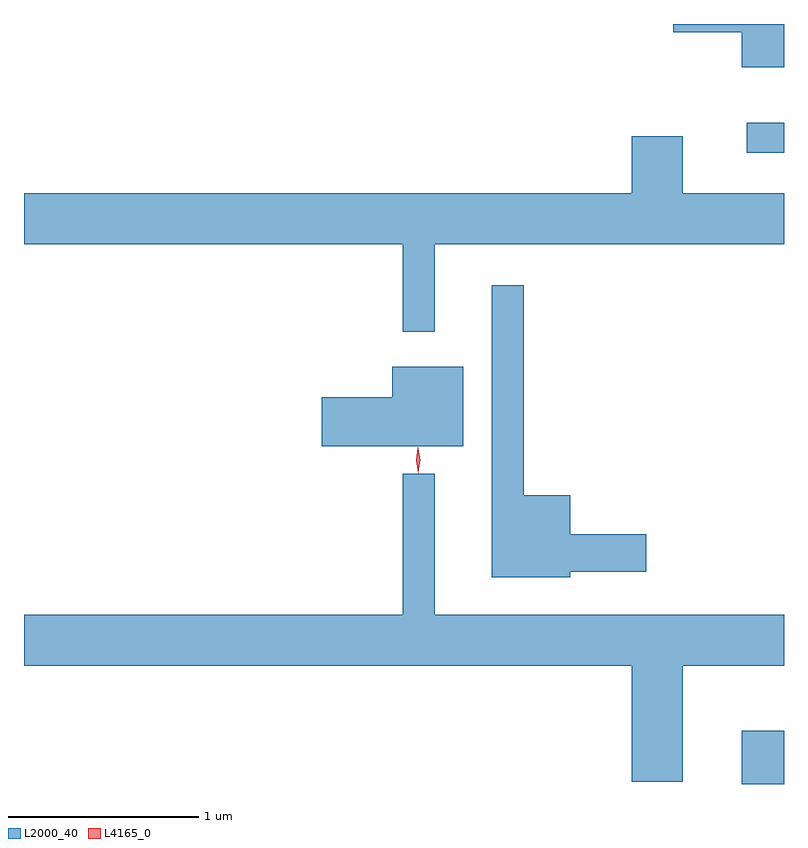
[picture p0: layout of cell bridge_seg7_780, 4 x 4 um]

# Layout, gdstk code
import gdstk
lib = gdstk.Library(unit=1e-6, precision=1e-09)
def R(c, l, rs):  # rectangles x0, y0, x1, y1
    for r in rs: c.add(gdstk.rectangle(r[:2], r[2:], *l))
def P(c, l, *ps):  # polygons
    for p in ps: c.add(gdstk.Polygon(p, *l))
L2000_40 = (2000, 40)
L4165_0 = (4165, 0)

bridge_seg7_780 = lib.new_cell('bridge_seg7_780')
R(bridge_seg7_780, L2000_40, [(375.496,1780.294,375.718,1780.574), (375.523,1783.616,375.718,1783.774)])
P(bridge_seg7_780, L2000_40, [(375.718,1784.294),(375.136,1784.294),(375.136,1784.251),(375.496,1784.251),(375.496,1784.066),(375.718,1784.066)],
  [(371.718,1783.136),(373.711,1783.136),(373.711,1782.673),(373.879,1782.673),(373.879,1783.136),(375.718,1783.136),(375.718,1783.404),(375.184,1783.404),(375.184,1783.704),(374.916,1783.704),(374.916,1783.404),(371.718,1783.404)],
  [(374.594,1781.411),(374.994,1781.411),(374.994,1781.609),(374.594,1781.609),(374.594,1781.814),(374.349,1781.814),(374.349,1782.918),(374.181,1782.918),(374.181,1781.381),(374.594,1781.381)],
  [(374.029,1782.489),(373.656,1782.489),(373.656,1782.329),(373.286,1782.329),(373.286,1782.071),(374.029,1782.071)],
  [(375.184,1780.916),(375.718,1780.916),(375.718,1781.184),(373.879,1781.184),(373.879,1781.928),(373.711,1781.928),(373.711,1781.184),(371.718,1781.184),(371.718,1780.916),(374.916,1780.916),(374.916,1780.306),(375.184,1780.306)])
P(bridge_seg7_780, L4165_0, [(373.794,1781.933),(373.793,1781.934),(373.784,1781.997),(373.793,1782.059),(373.794,1782.06),(373.794,1782.059),(373.804,1781.997),(373.794,1781.934)],
  [(373.792,1781.93),(373.792,1781.93),(373.782,1781.998),(373.791,1782.065),(373.791,1782.066),(373.792,1782.065),(373.802,1781.998),(373.793,1781.93)])

lib.write_gds('bridge_seg7_780.gds')
